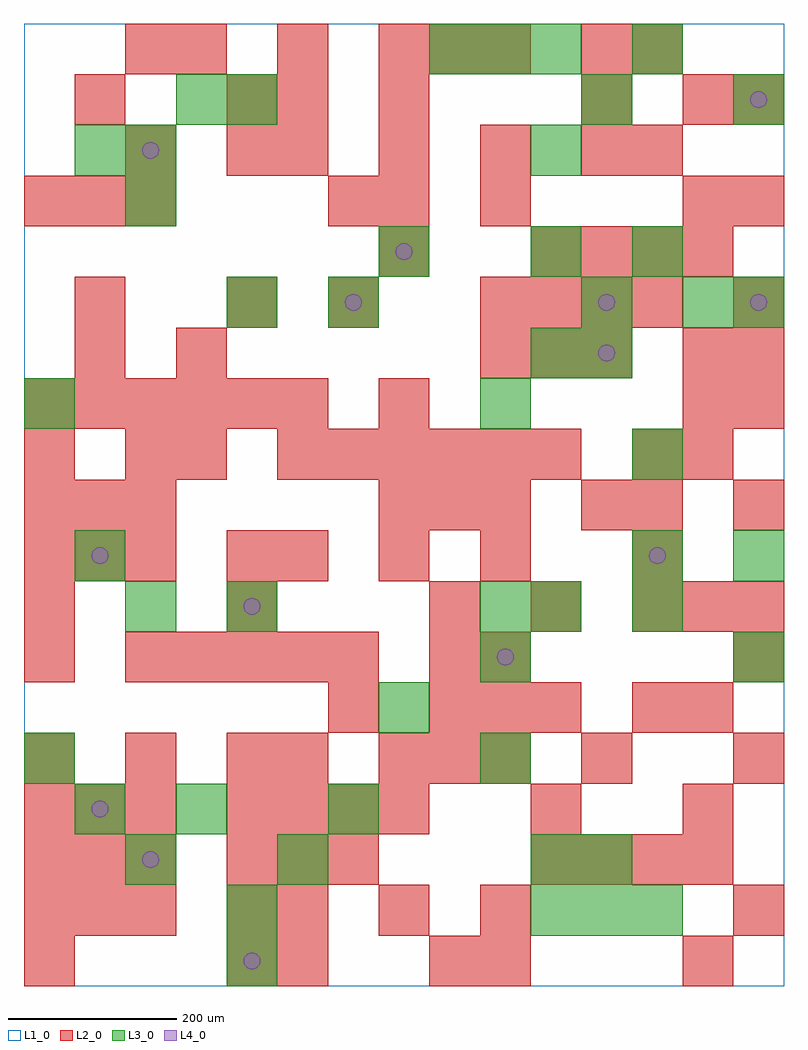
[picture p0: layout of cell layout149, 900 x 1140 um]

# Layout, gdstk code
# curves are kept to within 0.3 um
import gdstk
lib = gdstk.Library(unit=1e-6, precision=1e-09)
def R(c, l, rs):  # rectangles x0, y0, x1, y1
    for r in rs: c.add(gdstk.rectangle(r[:2], r[2:], *l))
def A(c, l, x, y, w, h, nx, ny, dx, dy):  # array of equal rectangles
    R(c, l, [(x+i*dx, y+j*dy, x+i*dx+w, y+j*dy+h) for i in range(nx) for j in range(ny)])
def P(c, l, *ps):  # polygons
    for p in ps: c.add(gdstk.Polygon(p, *l))
L1_0 = (1, 0)
L2_0 = (2, 0)
L3_0 = (3, 0)
L4_0 = (4, 0)

layout149 = lib.new_cell('layout149')
R(layout149, L1_0, [(0,0,900,1140)])
A(layout149, L2_0, 0, 60, 60, 60, 3, 3, 60, 60)
A(layout149, L2_0, 300, 60, 60, 60, 3, 2, 120, 420)
A(layout149, L2_0, 240, 120, 60, 60, 3, 1, 60, 0)
A(layout149, L2_0, 600, 120, 60, 60, 4, 2, 60, 720)
A(layout149, L2_0, 240, 180, 60, 60, 4, 1, 60, 0)
A(layout149, L2_0, 0, 240, 60, 60, 3, 1, 120, 0)
A(layout149, L2_0, 420, 240, 60, 60, 3, 2, 60, 300)
A(layout149, L2_0, 480, 300, 60, 60, 3, 1, 60, 0)
A(layout149, L2_0, 120, 360, 60, 60, 5, 1, 60, 0)
A(layout149, L2_0, 0, 420, 60, 60, 3, 1, 240, 0)
A(layout149, L2_0, 720, 420, 60, 60, 3, 1, 60, 0)
A(layout149, L2_0, 0, 480, 60, 60, 3, 2, 60, 60)
A(layout149, L2_0, 720, 480, 60, 60, 1, 3, 0, 60)
A(layout149, L2_0, 300, 600, 60, 60, 6, 1, 60, 0)
A(layout149, L2_0, 780, 600, 60, 60, 1, 3, 0, 60)
A(layout149, L2_0, 0, 660, 60, 60, 6, 1, 60, 0)
A(layout149, L2_0, 840, 660, 60, 60, 1, 3, 0, 60)
A(layout149, L2_0, 540, 720, 60, 60, 3, 1, 60, 0)
A(layout149, L2_0, 540, 780, 60, 60, 4, 1, 60, 0)
A(layout149, L2_0, 0, 900, 60, 60, 3, 1, 60, 0)
A(layout149, L2_0, 300, 960, 60, 60, 4, 1, 120, 0)
A(layout149, L2_0, 180, 1080, 60, 60, 3, 1, 120, 0)
R(layout149, L2_0, [(0,0,60,60), (240,0,300,60), (300,0,360,60), (480,0,540,60), (540,0,600,60), (780,0,840,60), (240,60,300,120), (840,60,900,120), (600,180,660,240), (780,180,840,240), (300,240,360,300), (660,240,720,300), (840,240,900,300), (360,300,420,360), (720,300,780,360), (780,300,840,360), (0,360,60,420), (480,360,540,420), (540,360,600,420), (840,360,900,420), (600,420,660,480), (240,480,300,540), (660,540,720,600), (840,540,900,600), (0,600,60,660), (120,600,180,660), (180,600,240,660), (420,660,480,720), (60,720,120,780), (180,720,240,780), (60,780,120,840), (240,780,300,840), (360,780,420,840), (420,840,480,900), (360,900,420,960), (420,900,480,960), (540,900,600,960), (780,900,840,960), (840,900,900,960), (120,960,180,1020), (240,960,300,1020), (720,960,780,1020), (60,1020,120,1080), (240,1020,300,1080), (300,1020,360,1080), (420,1020,480,1080), (660,1020,720,1080), (780,1020,840,1080), (840,1020,900,1080), (120,1080,180,1140), (480,1080,540,1140), (540,1080,600,1140), (660,1080,720,1140), (720,1080,780,1140)])
A(layout149, L3_0, 240, 60, 60, 60, 1, 3, 0, 360)
A(layout149, L3_0, 600, 60, 60, 60, 3, 1, 60, 0)
A(layout149, L3_0, 600, 120, 60, 60, 1, 3, 0, 300)
A(layout149, L3_0, 720, 600, 60, 60, 1, 3, 0, 240)
A(layout149, L3_0, 480, 1080, 60, 60, 3, 1, 60, 0)
R(layout149, L3_0, [(240,0,300,60), (120,120,180,180), (300,120,360,180), (660,120,720,180), (60,180,120,240), (180,180,240,240), (360,180,420,240), (0,240,60,300), (540,240,600,300), (420,300,480,360), (540,360,600,420), (840,360,900,420), (120,420,180,480), (540,420,600,480), (720,420,780,480), (60,480,120,540), (720,480,780,540), (840,480,900,540), (0,660,60,720), (540,660,600,720), (660,720,720,780), (360,780,420,840), (660,780,720,840), (780,780,840,840), (840,780,900,840), (420,840,480,900), (600,840,660,900), (120,900,180,960), (60,960,120,1020), (120,960,180,1020), (600,960,660,1020), (180,1020,240,1080), (240,1020,300,1080), (660,1020,720,1080), (840,1020,900,1080)])
P(layout149, L4_0, [(100,210),(99.239,213.827),(97.071,217.071),(93.827,219.239),(90,220),(86.173,219.239),(82.929,217.071),(80.761,213.827),(80,210),(80.761,206.173),(82.929,202.929),(86.173,200.761),(90,200),(93.827,200.761),(97.071,202.929),(99.239,206.173)],
  [(100,510),(99.239,513.827),(97.071,517.071),(93.827,519.239),(90,520),(86.173,519.239),(82.929,517.071),(80.761,513.827),(80,510),(80.761,506.173),(82.929,502.929),(86.173,500.761),(90,500),(93.827,500.761),(97.071,502.929),(99.239,506.173)],
  [(160,150),(159.239,153.827),(157.071,157.071),(153.827,159.239),(150,160),(146.173,159.239),(142.929,157.071),(140.761,153.827),(140,150),(140.761,146.173),(142.929,142.929),(146.173,140.761),(150,140),(153.827,140.761),(157.071,142.929),(159.239,146.173)],
  [(160,990),(159.239,993.827),(157.071,997.071),(153.827,999.239),(150,1000),(146.173,999.239),(142.929,997.071),(140.761,993.827),(140,990),(140.761,986.173),(142.929,982.929),(146.173,980.761),(150,980),(153.827,980.761),(157.071,982.929),(159.239,986.173)],
  [(280,30),(279.239,33.827),(277.071,37.071),(273.827,39.239),(270,40),(266.173,39.239),(262.929,37.071),(260.761,33.827),(260,30),(260.761,26.173),(262.929,22.929),(266.173,20.761),(270,20),(273.827,20.761),(277.071,22.929),(279.239,26.173)],
  [(280,450),(279.239,453.827),(277.071,457.071),(273.827,459.239),(270,460),(266.173,459.239),(262.929,457.071),(260.761,453.827),(260,450),(260.761,446.173),(262.929,442.929),(266.173,440.761),(270,440),(273.827,440.761),(277.071,442.929),(279.239,446.173)],
  [(400,810),(399.239,813.827),(397.071,817.071),(393.827,819.239),(390,820),(386.173,819.239),(382.929,817.071),(380.761,813.827),(380,810),(380.761,806.173),(382.929,802.929),(386.173,800.761),(390,800),(393.827,800.761),(397.071,802.929),(399.239,806.173)],
  [(460,870),(459.239,873.827),(457.071,877.071),(453.827,879.239),(450,880),(446.173,879.239),(442.929,877.071),(440.761,873.827),(440,870),(440.761,866.173),(442.929,862.929),(446.173,860.761),(450,860),(453.827,860.761),(457.071,862.929),(459.239,866.173)],
  [(580,390),(579.239,393.827),(577.071,397.071),(573.827,399.239),(570,400),(566.173,399.239),(562.929,397.071),(560.761,393.827),(560,390),(560.761,386.173),(562.929,382.929),(566.173,380.761),(570,380),(573.827,380.761),(577.071,382.929),(579.239,386.173)],
  [(700,750),(699.239,753.827),(697.071,757.071),(693.827,759.239),(690,760),(686.173,759.239),(682.929,757.071),(680.761,753.827),(680,750),(680.761,746.173),(682.929,742.929),(686.173,740.761),(690,740),(693.827,740.761),(697.071,742.929),(699.239,746.173)],
  [(700,810),(699.239,813.827),(697.071,817.071),(693.827,819.239),(690,820),(686.173,819.239),(682.929,817.071),(680.761,813.827),(680,810),(680.761,806.173),(682.929,802.929),(686.173,800.761),(690,800),(693.827,800.761),(697.071,802.929),(699.239,806.173)],
  [(760,510),(759.239,513.827),(757.071,517.071),(753.827,519.239),(750,520),(746.173,519.239),(742.929,517.071),(740.761,513.827),(740,510),(740.761,506.173),(742.929,502.929),(746.173,500.761),(750,500),(753.827,500.761),(757.071,502.929),(759.239,506.173)],
  [(880,810),(879.239,813.827),(877.071,817.071),(873.827,819.239),(870,820),(866.173,819.239),(862.929,817.071),(860.761,813.827),(860,810),(860.761,806.173),(862.929,802.929),(866.173,800.761),(870,800),(873.827,800.761),(877.071,802.929),(879.239,806.173)],
  [(880,1050),(879.239,1053.827),(877.071,1057.071),(873.827,1059.239),(870,1060),(866.173,1059.239),(862.929,1057.071),(860.761,1053.827),(860,1050),(860.761,1046.173),(862.929,1042.929),(866.173,1040.761),(870,1040),(873.827,1040.761),(877.071,1042.929),(879.239,1046.173)])

lib.write_gds('layout149.gds')
